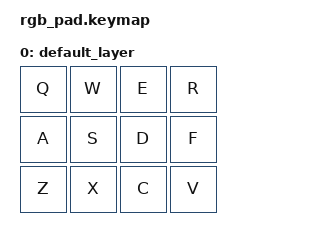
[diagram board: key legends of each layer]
/*
 * Simple 12-key layout with RGB control
 */
#include <dt-bindings/zmk/keys.h>
#include <dt-bindings/zmk/rgb.h>

/ {
    keymap {
        compatible = "zmk,keymap";

        default_layer {
            bindings = <
                &kp Q       &kp W       &kp E       &kp R
                &kp A       &kp S       &kp D       &kp F
                &kp Z       &kp X       &kp C       &kp V
            >;
        };
    };

    behaviors {
        rgb {
            compatible = "zmk,behavior-rgb";
            #binding-cells = <0>;
        };
    };
};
